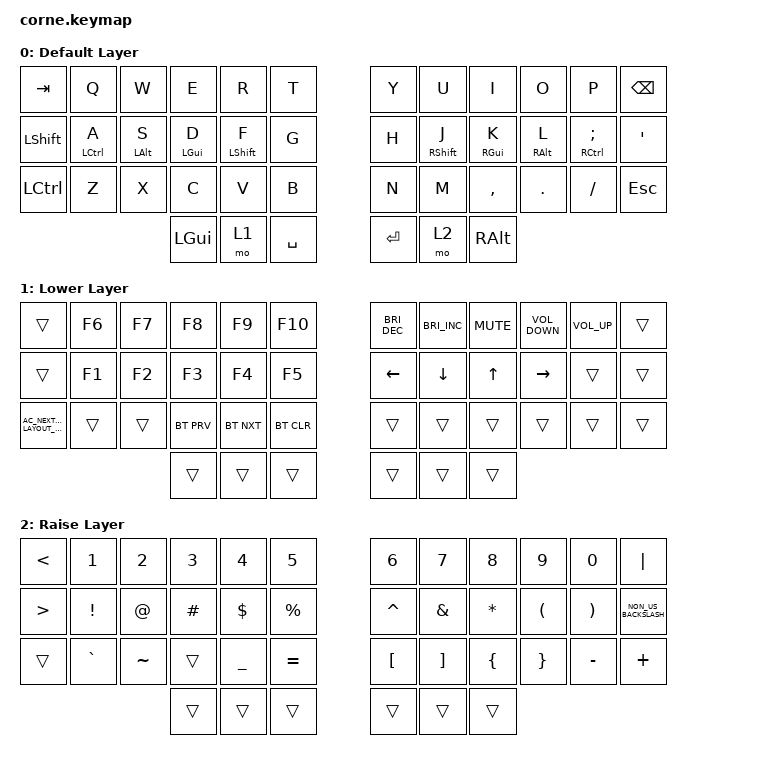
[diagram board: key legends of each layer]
/*
 * Copyright (c) 2020 The ZMK Contributors
 *
 * SPDX-License-Identifier: MIT
 */

#include <behaviors.dtsi>
#include <dt-bindings/zmk/bt.h>
#include <dt-bindings/zmk/keys.h>

/ {
    combos {
        compatible = "zmk,combos";

        tog_special_layer {
            bindings = <&mo 0>;
            key-positions = <37 40>;
        };
    };

    keymap {
        compatible = "zmk,keymap";

        default_layer {
            display-name = "Default Layer";

            // -----------------------------------------------------------------------------------------
            // |  TAB |  Q  |  W  |  E  |  R  |  T  |   |  Y  |  U   |  I  |  O  |  P  | BSPC |
            // | CTRL |  A  |  S  |  D  |  F  |  G  |   |  H  |  J   |  K  |  L  |  ;  |  '   |
            // | SHFT |  Z  |  X  |  C  |  V  |  B  |   |  N  |  M   |  ,  |  .  |  /  | ESC  |
            //                    | GUI | LWR | SPC |   | ENT | RSE  | ALT |

            bindings = <
&kp TAB     &kp Q        &kp W       &kp E       &kp R             &kp T        &kp Y    &kp U         &kp I       &kp O       &kp P           &kp BSPC
&kp LSHIFT  &mt LCTRL A  &mt LALT S  &mt LGUI D  &mt LEFT_SHIFT F  &kp G        &kp H    &mt RSHIFT J  &mt RGUI K  &mt RALT L  &mt RCTRL SEMI  &kp SQT
&kp LCTRL   &kp Z        &kp X       &kp C       &kp V             &kp B        &kp N    &kp M         &kp COMMA   &kp DOT     &kp FSLH        &kp ESC
                                     &kp LGUI    &mo 1             &kp SPACE    &kp RET  &mo 2         &kp RALT
            >;
        };

        lower_layer {
            display-name = "Lower Layer";

            // -----------------------------------------------------------------------------------------
            // |  TAB |  1  |  2  |  3  |  4  |  5  |   |  6  |  7  |  8  |  9  |  0  | BSPC |
            // | BTCLR| BT1 | BT2 | BT3 | BT4 | BT5 |   | LFT | DWN |  UP | RGT |     |      |
            // | SHFT |     |     |     |     |     |   |     |     |     |     |     |      |
            //                    | GUI |     | SPC |   | ENT |     | ALT |

            bindings = <
&trans                                &kp F6  &kp F7  &kp F8      &kp F9      &kp F10       &kp C_BRIGHTNESS_DEC  &kp C_BRIGHTNESS_INC  &kp C_MUTE  &kp C_VOLUME_DOWN  &kp C_VOLUME_UP  &trans
&trans                                &kp F1  &kp F2  &kp F3      &kp F4      &kp F5        &kp LEFT              &kp DOWN              &kp UP      &kp RIGHT          &trans           &trans
&kp C_AC_NEXT_KEYBOARD_LAYOUT_SELECT  &trans  &trans  &bt BT_PRV  &bt BT_NXT  &bt BT_CLR    &trans                &trans                &trans      &trans             &trans           &trans
                                                      &trans      &trans      &trans        &trans                &trans                &trans
            >;
        };

        raise_layer {
            display-name = "Raise Layer";

            // -----------------------------------------------------------------------------------------
            // |  TAB |  !  |  @  |  #  |  $  |  %  |   |  ^  |  &  |  *  |  (  |  )  | BSPC |
            // | CTRL |     |     |     |     |     |   |  -  |  =  |  [  |  ]  |  \  |  `   |
            // | SHFT |     |     |     |     |     |   |  _  |  +  |  {  |  }  | "|" |  ~   |
            //                    | GUI |     | SPC |   | ENT |     | ALT |

            bindings = <
&kp LESS_THAN     &kp NUMBER_1     &kp NUMBER_2  &kp NUMBER_3  &kp NUMBER_4    &kp NUMBER_5    &kp NUMBER_6      &kp NUMBER_7       &kp NUMBER_8  &kp NUMBER_9          &kp NUMBER_0           &kp PIPE
&kp GREATER_THAN  &kp EXCLAMATION  &kp AT_SIGN   &kp HASH      &kp DOLLAR      &kp PERCENT     &kp CARET         &kp AMPERSAND      &kp ASTERISK  &kp LEFT_PARENTHESIS  &kp RIGHT_PARENTHESIS  &kp NON_US_BACKSLASH
&trans            &kp GRAVE        &kp TILDE     &trans        &kp UNDERSCORE  &kp EQUAL       &kp LEFT_BRACKET  &kp RIGHT_BRACKET  &kp LBRC      &kp RBRC              &kp MINUS              &kp PLUS
                                                 &trans        &trans          &trans          &trans            &trans             &trans
            >;
        };
    };
};
